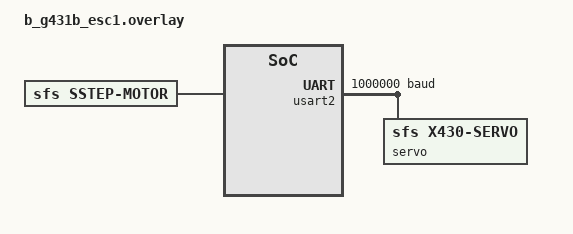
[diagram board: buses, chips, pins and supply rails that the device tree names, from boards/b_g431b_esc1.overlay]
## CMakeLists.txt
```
# SPDX-License-Identifier: Apache-2.0
#
# Doppelstep: stepper motor controller on B-G431B-ESC1 that answers as a
# DYNAMIXEL XM430-W350 (Protocol 2.0).

cmake_minimum_required(VERSION 3.20.0)

find_package(Zephyr REQUIRED HINTS $ENV{ZEPHYR_BASE})
project(doppelstep LANGUAGES C)

target_sources(app PRIVATE
  src/main.c
  src/app_msg.c
  src/control_task.c
  src/comm_task.c
  src/joint.c
  src/joint_bridge.c
  src/supervisor.c
)

target_sources_ifdef(CONFIG_POWER_STAGE_SIM app PRIVATE src/sim_log.c)

target_link_libraries(app PRIVATE x430)
```

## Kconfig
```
# SPDX-License-Identifier: Apache-2.0
#
# Doppelstep application options. Motor, power stage and control parameters
# are properties of the devicetree nodes (app/boards/*.overlay).

mainmenu "Doppelstep"

config SFS_STAGE_OFFSET_SAMPLES
	int "Samples averaged for the current sensor offsets at startup"
	default 1024
	range 16 65535

rsource "Kconfig.app_msg"

menu "Threads"

config SFS_CONTROL_THREAD_PRIORITY
	int "Control task priority"
	default -2
	help
	  Cooperative (negative) so that the slow loop is never preempted by
	  another thread.

config SFS_CONTROL_THREAD_STACK_SIZE
	int "Control task stack size"
	default 1536

config SFS_COMM_THREAD_PRIORITY
	int "Communication task priority"
	default 2

config SFS_COMM_THREAD_STACK_SIZE
	int "Communication task stack size"
	default 2560

endmenu

menu "Supervisor"

config SFS_WATCHDOG
	bool "Hardware watchdog, fed only while every task runs"
	default y
	depends on WATCHDOG && $(dt_alias_enabled,watchdog0)
	select HWINFO
	help
	  main() feeds the watchdog only when the control and the communication
	  task have both run since the last check (src/supervisor.h). A fast
	  loop that leaves the threads no time, or a task that hangs, resets the
	  MCU, which switches the outputs off. The log tells a watchdog reset.

config SFS_WATCHDOG_TIMEOUT_MS
	int "Watchdog timeout [ms]"
	default 500
	range 200 5000
	depends on SFS_WATCHDOG
	help
	  Longer than the longest normal pause of a task: a flash page erase of
	  the EEPROM area stalls the CPU for about 20 ms.

config SFS_WATCHDOG_CHECK_MS
	int "Period of the check in main() [ms]"
	default 100
	range 10 1000

endmenu

module = SFS
module-str = doppelstep
source "subsys/logging/Kconfig.template.log_config"

source "Kconfig.zephyr"
```

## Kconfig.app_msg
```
# SPDX-License-Identifier: Apache-2.0
#
# Queues between the communication and the control task (src/app_msg.h).

config SFS_CMD_TIMEOUT_MS
	int "Time a command waits for its result [ms]"
	default 50
	help
	  After it the host gets Result Fail. A command already in the queue may
	  still execute later; the log records the timeout. Torque Enable does not
	  wait for the self-test (CONFIG_SSTEP_MOTOR_SELFTEST): the motor driver
	  ends it in the slow loop.

config SFS_STATUS_PERIOD_MS
	int "Period of the status publication [ms]"
	default 1
	range 1 1000
	help
	  The status is also published after every command. On a core without an
	  FPU reading it can be expensive with stall detection on: see
	  docs/porting.md.

module = APP_MSG
module-str = app_msg
source "subsys/logging/Kconfig.template.log_config"
```

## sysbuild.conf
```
# SPDX-License-Identifier: Apache-2.0
#
# Sysbuild configuration of the board build (west build --sysbuild): MCUboot in
# boot_partition, the signed application in slot0_partition, serial recovery on
# USART2 (docs/firmware-update.md). native_sim builds do not use sysbuild.

SB_CONFIG_BOOTLOADER_MCUBOOT=y

# One application slot: serial recovery writes slot 0 directly.
SB_CONFIG_MCUBOOT_MODE_SINGLE_APP=y

# Signature: sysbuild default (RSA-2048) with the MCUboot development key, which
# is public and only fit for development. Own key: SB_CONFIG_BOOT_SIGNATURE_KEY_FILE.
```

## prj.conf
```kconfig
# SPDX-License-Identifier: Apache-2.0
#
# Doppelstep application configuration, common to every board. Board-specific
# options: boards/<board>.conf (merged by Zephyr automatically).

# --- Libraries (glue in modules/) --------------------------
CONFIG_SSTEP_TOPOLOGY_FULL_BRIDGE=n
CONFIG_SSTEP_TOPOLOGY_SHARED_LEG=y
# The motor node sets no stall time: the stall detection of Stepper-C is not used
CONFIG_SSTEP_STALL=n

CONFIG_X430_MODEL_XM430_W350=y
CONFIG_X430_MAX_DEVICES=1
CONFIG_X430_SIMULATOR=n

# --- STATUS LED --------------------------------------------------------------
CONFIG_GPIO=y

# --- Persistent EEPROM area of the emulated DYNAMIXEL ------------------------
CONFIG_FLASH=y
CONFIG_FLASH_MAP=y
CONFIG_NVS=y

# --- Logging -----------------------------------------------------------------
CONFIG_LOG=y
# No log prints a float. Without it picolibc links printf without floating point
# (the double printf with its Ryu tables was about 5 KiB of flash).
CONFIG_CBPRINTF_FP_SUPPORT=n

# --- Debugging: thread awareness for OpenOCD / J-Link / gdb ------------------
CONFIG_DEBUG_THREAD_INFO=y
CONFIG_THREAD_NAME=y

CONFIG_MAIN_STACK_SIZE=2048
```

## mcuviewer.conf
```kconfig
# SPDX-License-Identifier: Apache-2.0
#
# Bench build for measurements with MCUViewer (docs/measurements.md):
#
#   west build -b b_g431b_esc1 -s app -d build-mcuviewer -- -DEXTRA_CONF_FILE=mcuviewer.conf
#
# Never for a release: the option is off by default.

CONFIG_SSTEP_MOTOR_MCUVIEWER=y
CONFIG_SSTEP_MOTOR_MCUVIEWER_SAMPLES=1024
```

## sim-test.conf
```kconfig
# SPDX-License-Identifier: Apache-2.0
#
# native_sim build of the SIL and integration tests (tests/README.md): the
# model log line every 100 ms gives the tests the rotor position, speed and
# currents of the simulated motor.

CONFIG_SFS_SIM_LOG_PERIOD_MS=100
```

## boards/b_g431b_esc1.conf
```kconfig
# SPDX-License-Identifier: Apache-2.0
#
# Doppelstep on B-G431B-ESC1 (merged with prj.conf).

# --- Cortex-M4F: FPU in threads and in the fast-loop interrupt ---------------
CONFIG_FPU=y
CONFIG_FPU_SHARING=y

# Fast loop (ADC end of sequence) above the kernel's interrupt locking
CONFIG_ZERO_LATENCY_IRQS=y

# --- Peripherals -------------------------------------------------------------
CONFIG_OPAMP=y

# IWDG, fed only while every task runs (app/src/supervisor.h)
CONFIG_WATCHDOG=y

# NVS erases and writes the internal flash
CONFIG_MPU_ALLOW_FLASH_WRITE=y

# --- Console and logging over RTT (USART2 is the DYNAMIXEL bus) --------------
CONFIG_UART_CONSOLE=n
CONFIG_USE_SEGGER_RTT=y
CONFIG_RTT_CONSOLE=y
CONFIG_LOG_BACKEND_RTT=y
CONFIG_LOG_BACKEND_UART=n
```

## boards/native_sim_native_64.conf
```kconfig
# SPDX-License-Identifier: Apache-2.0
#
# Doppelstep on native_sim/native/64: the firmware as a Linux program, the
# simulated motor (sfs,sim-power-stage in the overlay), the DYNAMIXEL bus
# on a pseudoterminal (uart1). Merged with prj.conf.

# 1 ms tick = slow-loop period; the simulation backend runs the 20 fast-loop
# periods (20 kHz PWM of the ESC1) of each tick in one timer expiry
CONFIG_SYS_CLOCK_TICKS_PER_SEC=1000

# Logs on stdout of the program
CONFIG_LOG_BACKEND_NATIVE_POSIX=y
CONFIG_LOG_MODE_IMMEDIATE=y
```

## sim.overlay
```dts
/*
 * SPDX-License-Identifier: Apache-2.0
 *
 * Simulated motor on the board: the fast-loop interrupt of the real power stage
 * keeps its timing, Stepper-C drives a motor model and the gate drivers stay off.
 *   west build -b b_g431b_esc1 app -- -DEXTRA_DTC_OVERLAY_FILE=sim.overlay
 * See docs/simulation.md.
 */

/ {
	sim_stage: sim-power-stage {
		compatible = "sfs,sim-power-stage";
		timebase = <&power_stage>;
		microsteps = <16>;
		full-steps-per-rev = <200>;
	};
};

&motor {
	power-stage = <&sim_stage>;
};

/* The real stage is only the timebase here, its outputs stay off: no hardware
 * trips and no offset check (they need flash the simulated motor has not got).
 */
&power_stage {
	/delete-property/ hw-trip-current-milliamp;
	/delete-property/ hw-trip-vbus-mv;
	/delete-property/ current-offset-min-counts;
	/delete-property/ current-offset-max-counts;
};
```

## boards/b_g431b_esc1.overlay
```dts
/*
 * SPDX-License-Identifier: Apache-2.0
 *
 * Doppelstep on B-G431B-ESC1.
 */

/ {
	chosen {
		/* USART2 carries the DYNAMIXEL bus; console and logs go to RTT. */
		/delete-property/ zephyr,console;
		/delete-property/ zephyr,shell-uart;
		sfs,servo = &servo;
		sfs,motor = &motor;
	};

	power_stage: power-stage {
		compatible = "sfs,stm32-shared-leg-power-stage";
		pinctrl-0 = <&tim1_ch1_pa8 &tim1_ch1n_pc13
			     &tim1_ch2_pa9 &tim1_ch2n_pa12
			     &tim1_ch3_pa10 &tim1_ch3n_pb15
			     &adc1_in1_pa0 &adc1_in5_pb14>;
		pinctrl-names = "default";

		timer = <&timers1>;
		adc-master = <&adc1>;
		adc-slave = <&adc2>;
		opamps = <&opamp1 &opamp2 &opamp3>;
		opamp-gain = "OPAMP_GAIN_16";

		/* 20 kHz: TIM1 at 170 MHz, center-aligned, ARR = 4250 */
		pwm-frequency = <20000>;

		/*
		 * Dead time of the ESC1 bridge (0 = not set: outputs refused).
		 * Source: ngspice sweep of one leg (sfs-stepper-power-spice) with
		 * the gate circuit of schematic MB1419 rev C: L6387ED at 10 V,
		 * 33 Ohm gate resistors without turn-off diode, 10k G-S, snubber
		 * 1 Ohm + 10 nF; 24 V, 20 kHz, 25 and 100 degC, -3..+3 A.
		 * Shoot-through up to 600 ns; from 900 ns the Miller bump on the
		 * off gate stays under VGS(th) 3 V. 1200 ns = 900 ns x 1.3 margin
		 * for VGS(th) spread, driver delay mismatch and the fitted MOSFET
		 * model. Reduce only after measuring VGS on the board
		 * (docs/hardware.md, bring-up step 1).
		 */
		dead-time-ns = <1200>;

		/* Low-side time around the top of the counter for the samples: before
		 * the ADC trigger the dead time (1.2 us) and about 1 us of settling,
		 * after it the sampling phases of U, VBUS and W (about 1.5 us). Without
		 * it a duty cycle near 100 % (a 1 A current step at 12 V) corrupted the
		 * VBUS sample and tripped the undervoltage protection on the board.
		 * 2400 ns = 408 of 4250 ticks: the voltage limit drops by 9.6 %.
		 */
		sample-window-ns = <2400>;

		/* OP1_OUT PA2 = ADC1_IN3, OP2_OUT PA6 = ADC2_IN3,
		 * OP3_OUT PB1 = ADC1_IN12, VBUS PA0 = ADC1_IN1
		 */
		phase-u-channel = <3>;
		phase-v-channel = <3>;
		phase-w-channel = <12>;
		vbus-channel = <1>;

		/* Power stage temperature (schematic MB1419 rev C, sheets 4 and 6):
		 * +3.3 V - RT1 NTC - PB14 (ADC1_IN5) - R60 4.7k - GND, C66 10 nF.
		 * RT1 = TDK NTCG103JF103FT1: R25 10 kOhm +-1 %, B25/85 3435 K +-1 %
		 * (B25/50 3380 K; B25/85 fits the 80 degC Temperature Limit).
		 */
		temperature-channel = <5>;
		ntc-r25-ohm = <10000>;
		ntc-beta = <3435>;
		ntc-bottom-ohm = <4700>;

		adc-vref-mv = <3300>;

		/* 3 mOhm shunts, -64/7 = -9.143 V/V (MCSDK, NuttX, SimpleFOC) */
		shunt-micro-ohms = <3000>;
		current-sense-gain-milli = <(-9143)>;

		/* 18k / (18k + 169k) */
		vbus-divider = <18000 169000>;

		/* Hardware trips (schematic MB1419 rev C, sheet 6): each OPAMP+
		 * input is the shunt through 1.5k with 22k to +3.3 V and 2.2k to
		 * GND, V+ = 0.129 V + 4/7 Vshunt (1.71 mV/A); the comparator offset
		 * of +-5 mV is about +-3 A. 10 A: about 3 x trip-current-milliamp
		 * of the motor. 30 V: above vbus-max-mv (28 V).
		 */
		hw-trip-current-milliamp = <10000>;
		hw-trip-vbus-mv = <30000>;

		/* Offsets measured on the board: 2534 (U), 2528 counts = 16 x 0.129 V */
		current-offset-min-counts = <2300>;
		current-offset-max-counts = <2800>;
	};

	motor: motor {
		compatible = "sfs,sstep-motor";
		power-stage = <&power_stage>;

		/* 17HS19-2004S1 */
		phase-resistance-milliohm = <1600>;
		phase-inductance-microhenry = <3000>;
		rated-current-milliamp = <2000>;
		back-emf-uv-s-per-rad = <208600>;
		full-steps-per-rev = <200>;

		vbus-nominal-mv = <24000>;
		vbus-min-mv = <10000>;
		vbus-max-mv = <28000>;
		trip-current-milliamp = <3500>;
		/* The current rises at 30 mA/ms after Torque Enable (1.5 A in 50 ms):
		 * no step on the supply
		 */
		current-slew-ma-per-ms = <30>;
		/* Self-test before the first Torque Enable: 30 % of the rated current */
		selftest-current-milliamp = <600>;
		aux-trip;

		slow-loop-hz = <1000>;
		microsteps = <16>;
		current-bandwidth-hz = <1000>;
		run-current-milliamp = <1500>;
		hold-current-milliamp = <500>;
		hold-delay-ms = <500>;
		max-velocity = <16000>;
		max-acceleration = <64000>;

		motor_drv: driver {
			compatible = "sfs,sstep-stepper-driver";
		};

		motor_ctrl: ctrl {
			compatible = "sfs,sstep-stepper-ctrl";
		};
	};
};

/* DYNAMIXEL Protocol 2.0 bus: ST-LINK VCP for now, 1 Mbps as OpenMANIPULATOR-X */
&usart2 {
	current-speed = <1000000>;
	fifo-enable;

	servo: dxl-servo {
		compatible = "sfs,x430-servo";
		storage = <&storage_partition>;

		/* 17HS19-2004S1 in direct drive: one joint revolution = one motor
		 * revolution = 4096 pulses of the XM430 = 200 x 16 = 3200 microsteps.
		 * With a gearbox: motor revolutions per joint revolution.
		 */
		gear-motor-revs = <1>;
		gear-joint-revs = <1>;
	};
};
```

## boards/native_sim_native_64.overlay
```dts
/*
 * SPDX-License-Identifier: Apache-2.0
 *
 * Doppelstep on native_sim/native/64: DYNAMIXEL bus on the second PTY UART.
 * The program prints "uart_1 connected to pseudotty: /dev/pts/N" at start;
 * tools/sim/run_native.py links it to a fixed path (see the README).
 */

/ {
	chosen {
		sfs,servo = &servo;
		sfs,motor = &motor;
	};

	/* The simulated motor, with the ESC1 values of boards/b_g431b_esc1.overlay */
	sim_stage: sim-power-stage {
		compatible = "sfs,sim-power-stage";
		pwm-frequency = <20000>;
		timer-clock-hz = <170000000>;
		adc-vref-mv = <3300>;
		shunt-micro-ohms = <3000>;
		current-sense-gain-milli = <(-9143)>;
		vbus-divider = <18000 169000>;
		microsteps = <16>;
		full-steps-per-rev = <200>;
	};

	motor: motor {
		compatible = "sfs,sstep-motor";
		power-stage = <&sim_stage>;

		/* 17HS19-2004S1 */
		phase-resistance-milliohm = <1600>;
		phase-inductance-microhenry = <3000>;
		rated-current-milliamp = <2000>;
		back-emf-uv-s-per-rad = <208600>;
		full-steps-per-rev = <200>;

		vbus-nominal-mv = <24000>;
		vbus-min-mv = <10000>;
		vbus-max-mv = <28000>;
		trip-current-milliamp = <3500>;
		aux-trip;

		slow-loop-hz = <1000>;
		microsteps = <16>;
		current-bandwidth-hz = <1000>;
		run-current-milliamp = <1500>;
		hold-current-milliamp = <500>;
		hold-delay-ms = <500>;
		max-velocity = <16000>;
		max-acceleration = <64000>;

		motor_drv: driver {
			compatible = "sfs,sstep-stepper-driver";
		};

		motor_ctrl: ctrl {
			compatible = "sfs,sstep-stepper-ctrl";
		};
	};
};

&uart1 {
	status = "okay";
	current-speed = <1000000>;

	servo: dxl-servo {
		compatible = "sfs,x430-servo";
		storage = <&storage_partition>;
	};
};
```

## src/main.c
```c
/*
 * SPDX-License-Identifier: Apache-2.0
 *
 * Doppelstep: 17HS19-2004S1 stepper motor on B-G431B-ESC1, controlled
 * by Stepper-C, seen by the host as a DYNAMIXEL XM430-W350 (Protocol 2.0).
 *
 * The drivers have initialised themselves, with the outputs off. main() measures
 * the current sensor offsets, starts the control task, connects the servo to the
 * motor and starts the communication task. Until then nothing can send a command, so
 * the motor cannot start with uncalibrated sensors. Then main() shows the state on the
 * STATUS LED.
 */

#include <errno.h>

#include <zephyr/app_version.h>
#include <zephyr/device.h>
#include <zephyr/devicetree.h>
#include <zephyr/drivers/gpio.h>
#include <zephyr/kernel.h>
#include <zephyr/logging/log.h>

#include <doppelstep/drivers/power_stage.h>

#include <doppelstep/drivers/x430_servo.h>

#include "app_msg.h"
#include "app_tasks.h"
#include "joint_bridge.h"
#include "supervisor.h"

LOG_MODULE_REGISTER(main, CONFIG_SFS_LOG_LEVEL);

#define MOTOR_NODE DT_CHOSEN(sfs_motor)

static const struct device *const stage = DEVICE_DT_GET(DT_PHANDLE(MOTOR_NODE, power_stage));
static const struct device *const motor = DEVICE_DT_GET(MOTOR_NODE);
static const struct device *const motor_drv = DEVICE_DT_GET(DT_CHILD(MOTOR_NODE, driver));
static const struct device *const motor_ctrl = DEVICE_DT_GET(DT_CHILD(MOTOR_NODE, ctrl));
static const struct device *const servo = DEVICE_DT_GET(DT_CHOSEN(sfs_servo));
static const struct gpio_dt_spec led = GPIO_DT_SPEC_GET(DT_ALIAS(led0), gpios);

/* STATUS LED: slow blink = outputs off, on = outputs on, fast blink = fault
 * or startup error. The same loop checks the tasks every CONFIG_SFS_WATCHDOG_CHECK_MS
 * and feeds the watchdog (supervisor.h).
 */
static void status_led_loop(bool startup_failed)
{
	bool on = false;
	int32_t since_toggle_ms = 0;

	for (;;) {
		struct sstep_motor_status status;
		int32_t period_ms;

		k_msleep(CONFIG_SFS_WATCHDOG_CHECK_MS);
		if (startup_failed) {
			/* The comm task may never have started, so no command can come
			 * and the outputs stay off: keep the fast blink instead of a
			 * reset loop, even if the watchdog already runs.
			 */
			supervisor_checkin(SUPERVISOR_CONTROL);
			supervisor_checkin(SUPERVISOR_COMM);
		}
		(void)supervisor_poll();
		since_toggle_ms += CONFIG_SFS_WATCHDOG_CHECK_MS;

		if (startup_failed) {
			period_ms = 100;
		} else {
			status.state = SSTEP_MOTOR_DISABLED;
			(void)app_status_get(&status);
			switch (status.state) {
			case SSTEP_MOTOR_FAULT:
				period_ms = 100;
				break;
			case SSTEP_MOTOR_HOLDING:
			case SSTEP_MOTOR_MOVING:
				period_ms = 0;
				break;
			default:
				period_ms = 500;
				break;
			}
		}

		if ((period_ms == 0) || (since_toggle_ms >= period_ms)) {
			since_toggle_ms = 0;
			on = (period_ms == 0) ? true : !on;
			(void)gpio_pin_set_dt(&led, on ? 1 : 0);
		}
	}
}

static int startup(void)
{
	int ret;

	if (!device_is_ready(stage) || !device_is_ready(motor) || !device_is_ready(motor_drv) ||
	    !device_is_ready(motor_ctrl) || !device_is_ready(servo)) {
		return -ENODEV;
	}

	/* -EIO: an offset outside its window (broken amplifier, shunt or bias). The
	 * stage refuses its outputs; the bus still runs and reports Electrical Shock.
	 */
	ret = power_stage_calibrate(stage, CONFIG_SFS_STAGE_OFFSET_SAMPLES);
	const bool sensor_fault = (ret == -EIO);

	if ((ret != 0) && !sensor_fault) {
		return ret;
	}

	/* Without the watchdog the tasks do not start, so the outputs stay off. The
	 * first check comes CONFIG_SFS_WATCHDOG_CHECK_MS later, with both tasks running.
	 */
	ret = supervisor_start();
	if (ret != 0) {
		return ret;
	}

	/* Runs at once: higher priority, and it publishes the first status */
	k_thread_start(control_task_id);

	ret = joint_bridge_init(servo);
	if (ret != 0) {
		return ret;
	}
	if (sensor_fault) {
		x430_servo_lock(servo);
		x430_servo_raise_hw_error(servo, X430_HW_ERROR_ELECTRICAL_SHOCK);
		x430_servo_unlock(servo);
	}

	k_thread_start(comm_task_id);
	return 0;
}

int main(void)
{
	int ret;

	LOG_INF("Doppelstep %s on %s", APP_VERSION_STRING, CONFIG_BOARD_TARGET);

	if (gpio_is_ready_dt(&led)) {
		(void)gpio_pin_configure_dt(&led, GPIO_OUTPUT_INACTIVE);
	}

	ret = startup();
	if (ret != 0) {
		LOG_ERR("startup failed: %d", ret);
	}

	status_led_loop(ret != 0);
	return 0;
}
```

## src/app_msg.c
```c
/*
 * SPDX-License-Identifier: Apache-2.0
 *
 * See app_msg.h.
 */

#include "app_msg.h"

#include <errno.h>

#include <zephyr/logging/log.h>
#include <zephyr/sys/atomic.h>

LOG_MODULE_REGISTER(app_msg, CONFIG_APP_MSG_LOG_LEVEL);

K_MSGQ_DEFINE(cmd_q, sizeof(struct app_cmd), 2, 4);
K_MSGQ_DEFINE(rsp_q, sizeof(struct app_rsp), 2, 4);
K_MSGQ_DEFINE(status_q, sizeof(struct sstep_motor_status), 1, 4);

static atomic_t rsp_dropped;

int app_call(enum app_cmd_op op, int32_t arg0, uint32_t arg1, uint32_t arg2)
{
	static uint32_t seq;
	const struct app_cmd cmd = {
		.seq = ++seq,
		.op = op,
		.arg0 = arg0,
		.arg1 = arg1,
		.arg2 = arg2,
	};
	const k_timepoint_t end = sys_timepoint_calc(K_MSEC(CONFIG_SFS_CMD_TIMEOUT_MS));

	if (k_msgq_put(&cmd_q, &cmd, K_NO_WAIT) != 0) {
		return -EBUSY;
	}

	for (;;) {
		struct app_rsp rsp;

		if (k_msgq_get(&rsp_q, &rsp, sys_timepoint_timeout(end)) != 0) {
			LOG_ERR("command %d: no result", (int)op);
			return -ETIMEDOUT;
		}
		if (rsp.seq == cmd.seq) {
			return rsp.err;
		}
		/* the late answer of a command that timed out */
	}
}

int app_cmd_next(struct app_cmd *cmd, k_timeout_t timeout)
{
	return k_msgq_get(&cmd_q, cmd, timeout);
}

void app_cmd_done(const struct app_cmd *cmd, int err)
{
	const struct app_rsp rsp = {.seq = cmd->seq, .err = err};

	if (k_msgq_put(&rsp_q, &rsp, K_NO_WAIT) != 0) {
		(void)atomic_inc(&rsp_dropped);
	}
}

void app_status_publish(const struct sstep_motor_status *status)
{
	/* Safe between the two calls: the publisher is a cooperative thread that outranks
	 * every reader on a single core; a reader that still sees the queue empty keeps
	 * its previous copy.
	 */
	k_msgq_purge(&status_q);
	(void)k_msgq_put(&status_q, status, K_NO_WAIT);
}

int app_status_get(struct sstep_motor_status *status)
{
	return k_msgq_peek(&status_q, status);
}

uint32_t app_rsp_dropped(void)
{
	return (uint32_t)atomic_get(&rsp_dropped);
}
```

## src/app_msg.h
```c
/*
 * SPDX-License-Identifier: Apache-2.0
 *
 * The queues between the communication and the control task. Messages travel by
 * value. The control task never waits on an outgoing queue, so the communication
 * side cannot stall the control loop.
 *
 *   comm task     app_call() ---- cmd_q ---->  app_cmd_next()   control task
 *                            <--- rsp_q -----  app_cmd_done()
 *   any reader    app_status_get() <- status_q - app_status_publish()
 */

#ifndef DOPPELSTEP_APP_MSG_H_
#define DOPPELSTEP_APP_MSG_H_

#include <stdint.h>

#include <zephyr/kernel.h>

#include <doppelstep/drivers/sstep_motor.h>

#ifdef __cplusplus
extern "C" {
#endif

enum app_cmd_op {
	APP_CMD_ENABLE,       /**< Outputs on, hold the position. */
	APP_CMD_DISABLE,      /**< Outputs off. */
	APP_CMD_MOVE_TO,      /**< arg0 target [microsteps], arg1 speed, arg2 acceleration. */
	APP_CMD_RUN,          /**< arg0 velocity [microsteps/s], arg1 speed, arg2 acceleration. */
	APP_CMD_STOP,         /**< Decelerate to standstill. */
	APP_CMD_SET_POSITION, /**< arg0 position [microsteps]; the rotor does not move. */
	APP_CMD_SET_CURRENT,  /**< arg1 run, arg2 hold [mA]. */
	APP_CMD_CLEAR_FAULTS, /**< Clear the faults; outputs stay off. */
};

struct app_cmd {
	uint32_t seq; /**< Set by app_call(). */
	enum app_cmd_op op;
	int32_t arg0;
	uint32_t arg1;
	uint32_t arg2;
};

struct app_rsp {
	uint32_t seq; /**< Of the command. */
	int err;      /**< 0 or -errno. */
};

extern struct k_msgq cmd_q;
extern struct k_msgq rsp_q;
extern struct k_msgq status_q;

/**
 * @brief Send a command and wait for its result, at most CONFIG_SFS_CMD_TIMEOUT_MS.
 *        Communication task only: one command is in flight at a time.
 * @return The result of the control side, -EBUSY when the queue is full, -ETIMEDOUT
 *         when no answer came; the late answer is discarded by a later call.
 */
int app_call(enum app_cmd_op op, int32_t arg0, uint32_t arg1, uint32_t arg2);

/** Control task: next command; returns as k_msgq_get(). */
int app_cmd_next(struct app_cmd *cmd, k_timeout_t timeout);

/** Control task: result of a command. Never blocks; a full queue counts a drop. */
void app_cmd_done(const struct app_cmd *cmd, int err);

/** Control task: publish the status; it replaces the previous one. */
void app_status_publish(const struct sstep_motor_status *status);

/** Latest status, any thread. @return 0, or -ENOMSG before the first publication. */
int app_status_get(struct sstep_motor_status *status);

/** Results dropped by app_cmd_done() since start. */
uint32_t app_rsp_dropped(void);

#ifdef __cplusplus
}
#endif

#endif /* DOPPELSTEP_APP_MSG_H_ */
```

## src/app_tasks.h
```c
/*
 * SPDX-License-Identifier: Apache-2.0
 *
 * The application tasks. They are created stopped; main() starts them after a
 * successful initialisation.
 */

#ifndef DOPPELSTEP_APP_TASKS_H_
#define DOPPELSTEP_APP_TASKS_H_

#include <zephyr/kernel.h>

extern const k_tid_t control_task_id;
extern const k_tid_t comm_task_id;

#endif /* DOPPELSTEP_APP_TASKS_H_ */
```

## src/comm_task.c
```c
/*
 * SPDX-License-Identifier: Apache-2.0
 *
 * Communication task: the DYNAMIXEL bus. The servo driver parses and answers in
 * x430_servo_process() and calls joint_bridge.c, in this thread, for what the
 * registers mean. Between packets the live registers follow the motor.
 */

#include <zephyr/device.h>
#include <zephyr/devicetree.h>
#include <zephyr/kernel.h>

#include <doppelstep/drivers/x430_servo.h>

#include "app_tasks.h"
#include "joint_bridge.h"
#include "supervisor.h"

static const struct device *const servo = DEVICE_DT_GET(DT_CHOSEN(sfs_servo));

static void comm_task(void *p1, void *p2, void *p3)
{
	int64_t next_refresh = k_uptime_get() + CONFIG_SFS_DXL_POLL_MS;

	ARG_UNUSED(p1);
	ARG_UNUSED(p2);
	ARG_UNUSED(p3);

	for (;;) {
		(void)x430_servo_process(servo, K_MSEC(CONFIG_SFS_DXL_POLL_MS));
		supervisor_checkin(SUPERVISOR_COMM);

		const int64_t now = k_uptime_get();

		if (now >= next_refresh) {
			/* After a long packet or an EEPROM write: one refresh, not a burst */
			next_refresh += CONFIG_SFS_DXL_POLL_MS;
			if (next_refresh <= now) {
				next_refresh = now + CONFIG_SFS_DXL_POLL_MS;
			}
			joint_bridge_refresh();
		}
	}
}

K_THREAD_DEFINE(comm_task_id, CONFIG_SFS_COMM_THREAD_STACK_SIZE, comm_task, NULL, NULL, NULL,
		CONFIG_SFS_COMM_THREAD_PRIORITY, 0, K_TICKS_FOREVER);
```

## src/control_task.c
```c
/*
 * SPDX-License-Identifier: Apache-2.0
 *
 * Control task: the slow loop of the motor driver at the rate of its node, the
 * commands of the communication task and the publication of the status. It is the
 * only thread that calls the motor driver. Cooperative, so another thread never
 * preempts the slow loop.
 *
 * It waits for a command until the next period starts, on an absolute tick schedule,
 * so a command executes on receipt and the period does not drift with the work done.
 */

#include <errno.h>

#include <zephyr/device.h>
#include <zephyr/devicetree.h>
#include <zephyr/drivers/stepper/stepper.h>
#include <zephyr/drivers/stepper/stepper_ctrl.h>
#include <zephyr/kernel.h>

#include <doppelstep/drivers/sstep_motor.h>

#include "app_msg.h"
#include "app_tasks.h"
#include "supervisor.h"

#define MOTOR_NODE DT_CHOSEN(sfs_motor)
#define SLOW_HZ    DT_PROP(MOTOR_NODE, slow_loop_hz)

BUILD_ASSERT((CONFIG_SYS_CLOCK_TICKS_PER_SEC % SLOW_HZ) == 0,
	     "the system tick rate must be a multiple of the slow loop rate");

/* Slow-loop periods between two publications of the status */
#define STATUS_PERIODS MAX(1, (CONFIG_SFS_STATUS_PERIOD_MS * SLOW_HZ) / 1000)

static const struct device *const motor = DEVICE_DT_GET(MOTOR_NODE);
static const struct device *const motor_drv = DEVICE_DT_GET(DT_CHILD(MOTOR_NODE, driver));
static const struct device *const motor_ctrl = DEVICE_DT_GET(DT_CHILD(MOTOR_NODE, ctrl));

static int configure_ramp(uint32_t speed, uint32_t accel)
{
	const struct stepper_ctrl_ramp ramp = {
		.speed_max = speed,
		.acceleration_max = accel,
		.deceleration_max = 0U,
	};

	return stepper_ctrl_configure_ramp(motor_ctrl, &ramp);
}

static int execute(const struct app_cmd *cmd)
{
	int ret;

	switch (cmd->op) {
	case APP_CMD_ENABLE:
		return stepper_enable(motor_drv);
	case APP_CMD_DISABLE:
		return stepper_disable(motor_drv);
	case APP_CMD_MOVE_TO:
		ret = configure_ramp(cmd->arg1, cmd->arg2);
		return (ret == 0) ? stepper_ctrl_move_to(motor_ctrl, cmd->arg0) : ret;
	case APP_CMD_RUN:
		ret = configure_ramp(cmd->arg1, cmd->arg2);
		if (ret != 0) {
			return ret;
		}
		if (cmd->arg0 == 0) {
			return stepper_ctrl_stop(motor_ctrl);
		}
		return stepper_ctrl_run(motor_ctrl, (cmd->arg0 < 0)
							    ? STEPPER_CTRL_DIRECTION_NEGATIVE
							    : STEPPER_CTRL_DIRECTION_POSITIVE);
	case APP_CMD_STOP:
		return stepper_ctrl_stop(motor_ctrl);
	case APP_CMD_SET_POSITION:
		return stepper_ctrl_set_reference_position(motor_ctrl, cmd->arg0);
	case APP_CMD_SET_CURRENT:
		return sstep_motor_set_current(motor, cmd->arg1, cmd->arg2);
	case APP_CMD_CLEAR_FAULTS:
		return sstep_motor_clear_faults(motor);
	default:
		return -EINVAL;
	}
}

static void publish_status(void)
{
	struct sstep_motor_status status;

	if (sstep_motor_get_status(motor, &status) == 0) {
		app_status_publish(&status);
	}
}

static void control_task(void *p1, void *p2, void *p3)
{
	const k_ticks_t period = CONFIG_SYS_CLOCK_TICKS_PER_SEC / SLOW_HZ;
	k_ticks_t next = k_uptime_ticks();
	uint32_t periods = 0U;

	ARG_UNUSED(p1);
	ARG_UNUSED(p2);
	ARG_UNUSED(p3);

	/* The status exists before anyone can read it */
	publish_status();

	for (;;) {
		struct app_cmd cmd;

		next += period;
		while (app_cmd_next(&cmd, K_TIMEOUT_ABS_TICKS(next)) == 0) {
			const int err = execute(&cmd);

			/* The sender sees a status that reflects its command */
			publish_status();
			app_cmd_done(&cmd, err);
		}

		(void)sstep_motor_process(motor);
		supervisor_checkin(SUPERVISOR_CONTROL);

		periods++;
		if (periods >= STATUS_PERIODS) {
			periods = 0U;
			publish_status();
		}
	}
}

K_THREAD_DEFINE(control_task_id, CONFIG_SFS_CONTROL_THREAD_STACK_SIZE, control_task, NULL, NULL,
		NULL, CONFIG_SFS_CONTROL_THREAD_PRIORITY,
		COND_CODE_1(CONFIG_FPU_SHARING, (K_FP_REGS), (0)), K_TICKS_FOREVER);
```

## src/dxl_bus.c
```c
/*
 * SPDX-License-Identifier: Apache-2.0
 *
 * DYNAMIXEL Protocol 2.0 bus with one emulated XM430-W350 (see dxl_bus.h).
 *
 * Threads and contexts (X430 integration guide, "RTOS" layout):
 *   UART ISR        bytes -> ring buffer, wakes the bus thread
 *   bus thread      x430_bus_receive() (parser, answers, hooks; bus lock held
 *                   inside), x430_bus_poll() (Bus Watchdog) and the refresh of
 *                   the live registers every CONFIG_SFS_DXL_POLL_MS
 *   hooks           run in the bus thread; motion commands go to the slow-loop
 *                   thread through motor_*() (synchronous, < 2 slow-loop periods)
 */

#include "dxl_bus.h"

#include <errno.h>
#include <stdlib.h>

#include <zephyr/device.h>
#include <zephyr/devicetree.h>
#include <zephyr/drivers/uart.h>
#include <zephyr/kernel.h>
#include <zephyr/logging/log.h>
#include <zephyr/sys/ring_buffer.h>

#include <x430.h>

#include "joint.h"
#include "motor.h"
#include "nvm.h"

LOG_MODULE_REGISTER(dxl_bus, CONFIG_SFS_LOG_LEVEL);

#define DXL_UART_NODE DT_CHOSEN(sfs_dxl_uart)

#if !DT_NODE_EXISTS(DXL_UART_NODE)
#error "Set /chosen/sfs,dxl-uart to the UART of the DYNAMIXEL bus"
#endif

static const struct device *const uart = DEVICE_DT_GET(DXL_UART_NODE);

/* Baud Rate (8) codes of the X430 Control Table (ROBOTIS e-Manual) */
static const uint32_t baud_bps[] = {9600U,    57600U,   115200U,  1000000U,
				    2000000U, 3000000U, 4000000U, 4500000U};

RING_BUF_DECLARE(rx_ring, CONFIG_SFS_DXL_RX_BUFFER_SIZE);
static K_SEM_DEFINE(rx_sem, 0, 1);
static atomic_t rx_overruns;

K_MUTEX_DEFINE(bus_mutex); /* Zephyr mutexes are recursive */

static struct x430_bus bus;
static struct x430_device joint_dev;

static const struct joint_cfg jcfg = {
	.full_steps_per_rev = CONFIG_SFS_MOTOR_FULL_STEPS_PER_REV,
	.microsteps = CONFIG_SFS_CTRL_MICROSTEPS,
	.gear_motor_revs = CONFIG_SFS_DXL_GEAR_MOTOR_REVS,
	.gear_joint_revs = CONFIG_SFS_DXL_GEAR_JOINT_REVS,
	.start_position = CONFIG_SFS_DXL_START_POSITION,
};

/* Control Table values the mapping needs, kept current by the write hook. */
static struct {
	struct joint_regs regs;
	uint8_t operating_mode;
	uint8_t baud;
	uint32_t profile_velocity;
	uint32_t profile_acceleration;
	uint32_t velocity_limit;
} cache;

static bool eeprom_missing;       /* no EEPROM block at startup */
static bool factory_baud_pending; /* apply CONFIG_SFS_DXL_FACTORY_BAUD_CODE */
static uint16_t faults_reported;

static K_THREAD_STACK_DEFINE(dxl_stack, CONFIG_SFS_DXL_THREAD_STACK_SIZE);
static struct k_thread dxl_thread;

/* ------------------------------------------------------------------------ */
/* UART                                                                     */

static void uart_isr(const struct device *dev, void *user_data)
{
	ARG_UNUSED(user_data);

	uart_irq_update(dev);
	while (uart_irq_rx_ready(dev) != 0) {
		uint8_t buf[16];
		const int n = uart_fifo_read(dev, buf, sizeof(buf));

		if (n <= 0) {
			break;
		}
		if (ring_buf_put(&rx_ring, buf, (uint32_t)n) != (uint32_t)n) {
			(void)atomic_inc(&rx_overruns);
		}
		k_sem_give(&rx_sem);
	}
}

static int uart_write(void *context, const uint8_t *data, size_t length)
{
	ARG_UNUSED(context);
	for (size_t i = 0; i < length; i++) {
		uart_poll_out(uart, data[i]);
	}
	return 0;
}

static int uart_set_baud(uint8_t code)
{
	struct uart_config cfg;
	int ret;

	if (code >= ARRAY_SIZE(baud_bps)) {
		return -EINVAL;
	}
	ret = uart_config_get(uart, &cfg);
	if ((ret == 0) && (cfg.baudrate != baud_bps[code])) {
		cfg.baudrate = baud_bps[code];
		ret = uart_configure(uart, &cfg);
	}
	if (ret != 0) {
		LOG_ERR("UART %u bps: %d", baud_bps[code], ret);
	} else {
		LOG_INF("bus at %u bps", baud_bps[code]);
	}
	return ret;
}

/* ------------------------------------------------------------------------ */
/* X430 port                                                                */

static void port_lock(void *context)
{
	(void)k_mutex_lock(context, K_FOREVER);
}

static void port_unlock(void *context)
{
	(void)k_mutex_unlock(context);
}

static uint32_t port_millis(void *context)
{
	ARG_UNUSED(context);
	return k_uptime_get_32();
}

static void port_delay_us(void *context, uint32_t us)
{
	ARG_UNUSED(context);
	k_busy_wait(us);
}

static const struct x430_port port = {
	.context = &bus_mutex,
	.lock = port_lock,
	.unlock = port_unlock,
	.millis = port_millis,
	.delay_us = port_delay_us,
};

/* ------------------------------------------------------------------------ */
/* Control Table <-> motor                                                  */

static int32_t reg(uint16_t address)
{
	return x430_device_get(&joint_dev, address);
}

static void reload_cache(void)
{
	cache.regs.drive_mode = (uint8_t)reg(X430_ADDR_DRIVE_MODE);
	cache.regs.homing_offset = reg(X430_ADDR_HOMING_OFFSET);
	cache.operating_mode = (uint8_t)reg(X430_ADDR_OPERATING_MODE);
	cache.baud = (uint8_t)reg(X430_ADDR_BAUD_RATE);
	cache.profile_velocity = (uint32_t)reg(X430_ADDR_PROFILE_VELOCITY);
	cache.profile_acceleration = (uint32_t)reg(X430_ADDR_PROFILE_ACCELERATION);
	cache.velocity_limit = (uint32_t)reg(X430_ADDR_VELOCITY_LIMIT);
}

static uint8_t hardware_error_bits(uint16_t faults)
{
	uint8_t bits = 0U;

	if ((faults & (SSTEP_FAULT_OVERVOLTAGE | SSTEP_FAULT_UNDERVOLTAGE)) != 0U) {
		bits |= X430_HW_ERROR_INPUT_VOLTAGE;
	}
	if ((faults & (SSTEP_FAULT_OVERCURRENT | SSTEP_FAULT_EXTERNAL | SSTEP_FAULT_HAL)) != 0U) {
		bits |= X430_HW_ERROR_ELECTRICAL_SHOCK;
	}
	return bits;
}

/* Live registers from the motor snapshot. Bus lock held. */
static void refresh_live(void)
{
	struct motor_snapshot snap;
	const struct sstep_status *st = &snap.status;

	motor_get_snapshot(&snap);

	const int32_t position = joint_position_to_dxl(&jcfg, &cache.regs, st->position);
	const int32_t velocity = joint_velocity_to_dxl(&jcfg, &cache.regs, st->velocity);
	const bool moving = st->state == SSTEP_STATE_MOVING;
	uint8_t moving_status = 0U;

	(void)x430_device_set(&joint_dev, X430_ADDR_PRESENT_POSITION, position);
	(void)x430_device_set(&joint_dev, X430_ADDR_POSITION_TRAJECTORY, position);
	(void)x430_device_set(&joint_dev, X430_ADDR_PRESENT_VELOCITY, velocity);
	(void)x430_device_set(&joint_dev, X430_ADDR_VELOCITY_TRAJECTORY, velocity);
	(void)x430_device_set(&joint_dev, X430_ADDR_PRESENT_CURRENT,
			      joint_current_to_dxl((int32_t)snap.i_amplitude_ma));
	(void)x430_device_set(&joint_dev, X430_ADDR_PRESENT_INPUT_VOLTAGE,
			      (int32_t)((st->vbus_mv + 50U) / 100U));
	(void)x430_device_set(&joint_dev, X430_ADDR_MOVING, moving ? 1 : 0);

	if (moving) {
		moving_status |= X430_MOVING_STATUS_PROFILE_ONGOING |
				 X430_MOVING_STATUS_PROFILE_TRAPEZOIDAL;
	} else if (st->position == st->target) {
		moving_status |= X430_MOVING_STATUS_IN_POSITION;
	}
	(void)x430_device_set(&joint_dev, X430_ADDR_MOVING_STATUS, moving_status);

	/* Faults of the power stage -> Hardware Error Status (once per new fault) */
	const uint16_t fresh = st->faults & (uint16_t)~faults_reported;

	if (fresh != 0U) {
		const uint8_t bits = hardware_error_bits(fresh);

		if (bits != 0U) {
			x430_device_raise_hardware_error(&joint_dev, bits);
		}
	}
	faults_reported = st->faults;

	/* Outputs off while Torque Enable says on (fault, external disable) */
	if ((reg(X430_ADDR_TORQUE_ENABLE) != 0) &&
	    ((st->state == SSTEP_STATE_DISABLED) || (st->state == SSTEP_STATE_FAULT))) {
		(void)x430_device_set(&joint_dev, X430_ADDR_TORQUE_ENABLE, 0);
	}
}

static uint8_t to_status(int rc)
{
	return (rc == 0) ? DXL2_ERR_NONE : DXL2_ERR_RESULT_FAIL;
}

static uint8_t goal_position(int32_t value)
{
	struct motor_snapshot snap;
	struct joint_profile profile;
	int32_t target;

	if (((cache.operating_mode != X430_MODE_POSITION) &&
	     (cache.operating_mode != X430_MODE_EXTENDED_POSITION)) ||
	    (reg(X430_ADDR_TORQUE_ENABLE) == 0)) {
		return DXL2_ERR_NONE; /* stored only, as on an X430 */
	}

	motor_get_snapshot(&snap);
	target = joint_position_from_dxl(&jcfg, &cache.regs, value);
	profile = joint_profile(&jcfg, &cache.regs,
				(uint32_t)llabs((int64_t)target - snap.status.position),
				cache.profile_velocity, cache.profile_acceleration,
				cache.velocity_limit, CONFIG_SFS_CTRL_V_MAX,
				CONFIG_SFS_CTRL_ACCEL_MAX);

	return to_status(motor_move_to(target, profile.v_max, profile.accel));
}

static uint8_t goal_velocity(int32_t value)
{
	uint32_t cap = CONFIG_SFS_CTRL_V_MAX;
	uint32_t accel = CONFIG_SFS_CTRL_ACCEL_MAX;
	int32_t velocity;

	if ((cache.operating_mode != X430_MODE_VELOCITY) || (reg(X430_ADDR_TORQUE_ENABLE) == 0)) {
		return DXL2_ERR_NONE;
	}

	if (cache.velocity_limit > 0U) {
		cap = MIN(cap, joint_speed_from_dxl(&jcfg, cache.velocity_limit));
	}
	if (cache.profile_acceleration > 0U) {
		accel = CLAMP(joint_accel_from_dxl(&jcfg, cache.profile_acceleration), 1U,
			      (uint32_t)CONFIG_SFS_CTRL_ACCEL_MAX);
	}
	velocity = CLAMP(joint_velocity_from_dxl(&jcfg, &cache.regs, value), -(int32_t)cap,
			 (int32_t)cap);

	return to_status(motor_run(velocity, MAX((uint32_t)abs(velocity), 1U), accel));
}

/* ------------------------------------------------------------------------ */
/* X430 hooks (bus thread, bus lock held)                                   */

static uint8_t hook_write(struct x430_device *device, uint16_t address, uint8_t size,
			  int32_t value, void *user_data)
{
	ARG_UNUSED(device);
	ARG_UNUSED(size);
	ARG_UNUSED(user_data);

	switch (address) {
	case X430_ADDR_TORQUE_ENABLE:
		if (value != 0) {
			/* The library copies Present Position into Goal Position next */
			refresh_live();
			return to_status(motor_enable(true));
		}
		return to_status(motor_enable(false));

	case X430_ADDR_OPERATING_MODE:
		/* Position, extended position and velocity map onto Stepper-C;
		 * current, current-based position and PWM need a torque path.
		 */
		if ((value != X430_MODE_POSITION) && (value != X430_MODE_EXTENDED_POSITION) &&
		    (value != X430_MODE_VELOCITY)) {
			return DXL2_ERR_DATA_RANGE;
		}
		cache.operating_mode = (uint8_t)value;
		return DXL2_ERR_NONE;

	case X430_ADDR_DRIVE_MODE:
		cache.regs.drive_mode = (uint8_t)value;
		return DXL2_ERR_NONE;

	case X430_ADDR_HOMING_OFFSET:
		cache.regs.homing_offset = value;
		return DXL2_ERR_NONE;

	case X430_ADDR_BAUD_RATE:
		if ((uint32_t)value >= ARRAY_SIZE(baud_bps)) {
			return DXL2_ERR_DATA_RANGE;
		}
		cache.baud = (uint8_t)value;
		return DXL2_ERR_NONE;

	case X430_ADDR_PROFILE_VELOCITY:
		cache.profile_velocity = (uint32_t)value;
		return DXL2_ERR_NONE;

	case X430_ADDR_PROFILE_ACCELERATION:
		cache.profile_acceleration = (uint32_t)value;
		return DXL2_ERR_NONE;

	case X430_ADDR_VELOCITY_LIMIT:
		cache.velocity_limit = (uint32_t)value;
		return DXL2_ERR_NONE;

	case X430_ADDR_CURRENT_LIMIT:
		return to_status(motor_set_current(joint_current_from_dxl((uint32_t)value),
						   CONFIG_SFS_CTRL_I_HOLD_MA));

	case X430_ADDR_GOAL_POSITION:
		return goal_position(value);

	case X430_ADDR_GOAL_VELOCITY:
		return goal_velocity(value);

	default:
		return DXL2_ERR_NONE;
	}
}

static void hook_read(struct x430_device *device, uint16_t address, uint16_t length,
		      void *user_data)
{
	ARG_UNUSED(device);
	ARG_UNUSED(user_data);

	if ((address + length) > X430_ADDR_REALTIME_TICK) {
		refresh_live();
	}
}

static uint8_t hook_event(struct x430_device *device, enum x430_event event, void *user_data)
{
	ARG_UNUSED(device);
	ARG_UNUSED(user_data);

	switch (event) {
	case X430_EVENT_REBOOT:
		(void)motor_enable(false);
		(void)motor_clear_faults();
		faults_reported = 0U;
		reload_cache();
		break;

	case X430_EVENT_FACTORY_RESET: {
		const uint8_t previous_baud = cache.baud;

		(void)motor_enable(false);
		(void)motor_clear_faults();
		faults_reported = 0U;
		reload_cache();
		/* Baud Rate went back to the X430 factory value: use this
		 * firmware's factory value instead (bus thread, after the answer).
		 */
		if ((cache.baud != previous_baud) &&
		    (cache.baud != CONFIG_SFS_DXL_FACTORY_BAUD_CODE)) {
			factory_baud_pending = true;
		}
		break;
	}

	case X430_EVENT_CLEAR_MULTI_TURN: {
		struct motor_snapshot snap;

		motor_get_snapshot(&snap);
		const int32_t present = joint_position_to_dxl(&jcfg, &cache.regs,
							      snap.status.position);
		const int32_t wrapped = ((present % JOINT_DXL_PULSES_PER_REV) +
					 JOINT_DXL_PULSES_PER_REV) %
					JOINT_DXL_PULSES_PER_REV;

		return to_status(
			motor_set_position(joint_position_from_dxl(&jcfg, &cache.regs, wrapped)));
	}

	case X430_EVENT_BUS_WATCHDOG:
		(void)motor_stop();
		break;

	case X430_EVENT_BAUD_RATE:
		cache.baud = (uint8_t)reg(X430_ADDR_BAUD_RATE);
		(void)uart_set_baud(cache.baud);
		break;

	case X430_EVENT_TORQUE_SHUTDOWN:
		(void)motor_enable(false);
		break;

	case X430_EVENT_BACKUP_RESTORED:
		reload_cache();
		(void)motor_set_current(
			joint_current_from_dxl((uint32_t)reg(X430_ADDR_CURRENT_LIMIT)),
			CONFIG_SFS_CTRL_I_HOLD_MA);
		break;

	default:
		break;
	}
	return DXL2_ERR_NONE;
}

static int hook_nvm_load(struct x430_device *device, enum x430_nvm_slot slot, uint8_t *data,
			 uint16_t size, void *user_data)
{
	const int ret = nvm_load((uint8_t)slot, data, size);

	ARG_UNUSED(device);
	ARG_UNUSED(user_data);
	if ((ret != 0) && (slot == X430_NVM_EEPROM)) {
		eeprom_missing = true;
	}
	return ret;
}

static int hook_nvm_store(struct x430_device *device, enum x430_nvm_slot slot,
			  const uint8_t *data, uint16_t size, void *user_data)
{
	struct motor_snapshot snap;

	ARG_UNUSED(device);
	ARG_UNUSED(user_data);

	/* A flash erase stalls the CPU (single bank) and with it the current loop */
	motor_get_snapshot(&snap);
	if (snap.status.state != SSTEP_STATE_DISABLED) {
		LOG_WRN("NVM write refused: power stage enabled");
		return -EBUSY;
	}
	return nvm_store((uint8_t)slot, data, size);
}

static const struct x430_hooks hooks = {
	.write = hook_write,
	.read = hook_read,
	.event = hook_event,
	.nvm_load = hook_nvm_load,
	.nvm_store = hook_nvm_store,
};

/* Write this firmware's factory Baud Rate through the normal write path
 * (validated, stored in the EEPROM block, X430_EVENT_BAUD_RATE). Bus lock held.
 */
static void apply_factory_baud(void)
{
	const uint8_t code = CONFIG_SFS_DXL_FACTORY_BAUD_CODE;
	const uint8_t rc = x430_device_write(&joint_dev, X430_ADDR_BAUD_RATE, 1U, &code, 0U);

	if (rc != DXL2_ERR_NONE) {
		LOG_ERR("factory Baud Rate %u: error 0x%02x", code, rc);
	}
	x430_device_flush_events(&joint_dev);
}

/* ------------------------------------------------------------------------ */

static void dxl_thread_fn(void *p1, void *p2, void *p3)
{
	int64_t next_poll = k_uptime_get() + CONFIG_SFS_DXL_POLL_MS;

	ARG_UNUSED(p1);
	ARG_UNUSED(p2);
	ARG_UNUSED(p3);

	for (;;) {
		uint8_t chunk[64];
		uint32_t n;

		(void)k_sem_take(&rx_sem, K_MSEC(CONFIG_SFS_DXL_POLL_MS));

		while ((n = ring_buf_get(&rx_ring, chunk, sizeof(chunk))) > 0U) {
			x430_bus_receive(&bus, chunk, n);
		}

		if (factory_baud_pending) {
			x430_bus_lock(&bus);
			factory_baud_pending = false;
			apply_factory_baud();
			x430_bus_unlock(&bus);
		}

		if (k_uptime_get() >= next_poll) {
			next_poll += CONFIG_SFS_DXL_POLL_MS;
			x430_bus_poll(&bus);
			x430_bus_lock(&bus);
			refresh_live();
			x430_bus_unlock(&bus);

			const atomic_val_t overruns = atomic_set(&rx_overruns, 0);

			if (overruns != 0) {
				LOG_WRN("RX ring buffer overrun (%ld)", (long)overruns);
			}
		}
	}
}

int dxl_bus_init(void)
{
	const struct x430_bus_config bus_cfg = {
		.write = uart_write,
		.write_context = NULL,
		.port = &port,
	};
	const struct x430_device_config dev_cfg = {
		.id = CONFIG_SFS_DXL_ID,
		.hooks = &hooks,
		.user_data = NULL,
	};
	int ret;

	if (!device_is_ready(uart)) {
		LOG_ERR("%s not ready", uart->name);
		return -ENODEV;
	}

	ret = nvm_init();
	if (ret != 0) {
		LOG_WRN("NVM unavailable (%d): EEPROM area not persistent", ret);
	}

	if ((x430_bus_init(&bus, &bus_cfg) != X430_OK) ||
	    (x430_device_init(&joint_dev, &dev_cfg) != X430_OK) ||
	    (x430_bus_attach(&bus, &joint_dev) != X430_OK)) {
		LOG_ERR("X430 initialisation failed");
		return -EINVAL;
	}

	x430_bus_lock(&bus);
	reload_cache();
	if (eeprom_missing && (cache.baud != CONFIG_SFS_DXL_FACTORY_BAUD_CODE)) {
		apply_factory_baud(); /* first start: this firmware's factory baud rate */
	}
	(void)uart_set_baud(cache.baud);
	refresh_live();
	x430_bus_unlock(&bus);

	uart_irq_callback_set(uart, uart_isr);
	uart_irq_rx_enable(uart);

	(void)k_thread_create(&dxl_thread, dxl_stack, K_THREAD_STACK_SIZEOF(dxl_stack),
			      dxl_thread_fn, NULL, NULL, NULL, CONFIG_SFS_DXL_THREAD_PRIORITY, 0,
			      K_NO_WAIT);
	(void)k_thread_name_set(&dxl_thread, "dxl");

	LOG_INF("DYNAMIXEL %s: ID %u, model %u, %s", CONFIG_X430_MODEL_NAME,
		x430_device_id(&joint_dev), (unsigned int)reg(X430_ADDR_MODEL_NUMBER),
		uart->name);
	return 0;
}
```

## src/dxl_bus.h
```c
/*
 * SPDX-License-Identifier: Apache-2.0
 *
 * DYNAMIXEL Protocol 2.0 transport: one emulated XM430-W350 (X430 Control
 * Table emulator) on the UART chosen as "sfs,dxl-uart", mapped onto the
 * Stepper-C motor (motor.h) through the unit conversions of joint.h.
 */

#ifndef SFS_DXL_BUS_H
#define SFS_DXL_BUS_H

#ifdef __cplusplus
extern "C" {
#endif

/** Initialise NVM, the emulated device and the UART, and start the bus thread. */
int dxl_bus_init(void);

#ifdef __cplusplus
}
#endif

#endif /* SFS_DXL_BUS_H */
```

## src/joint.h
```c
/*
 * SPDX-License-Identifier: Apache-2.0
 *
 * Unit conversions between the stepper motor (Stepper-C: microsteps,
 * microsteps/s, microsteps/s^2, mA) and the DYNAMIXEL X430 Control Table
 * (pulse = 360/4096 deg, 0.229 rev/min, 214.577 rev/min^2, 2.69 mA, ms).
 * Pure functions, no state: unit-testable on the host.
 */

#ifndef SFS_JOINT_H
#define SFS_JOINT_H

#include <stdbool.h>
#include <stdint.h>

#ifdef __cplusplus
extern "C" {
#endif

/** X430 position resolution [pulse per joint revolution]. */
#define JOINT_DXL_PULSES_PER_REV 4096

/** Mechanical and register-level parameters of one joint. */
struct joint_cfg {
	uint32_t full_steps_per_rev; /**< Motor full steps per motor revolution. */
	uint32_t microsteps;         /**< Microsteps per full step. */
	uint32_t gear_motor_revs;    /**< Motor revolutions ...          */
	uint32_t gear_joint_revs;    /**< ... per joint revolutions.     */
	int32_t start_position;      /**< Present Position of motor position 0 [pulse]. */
};

/** Register values that change the mapping (cached from the Control Table). */
struct joint_regs {
	uint8_t drive_mode;     /**< Drive Mode (10). */
	int32_t homing_offset;  /**< Homing Offset (20) [pulse]. */
};

/** Motor position [microsteps] to Present Position [pulse]. */
int32_t joint_position_to_dxl(const struct joint_cfg *cfg, const struct joint_regs *regs,
			      int32_t microsteps);

/** Goal Position [pulse] to motor position [microsteps]. */
int32_t joint_position_from_dxl(const struct joint_cfg *cfg, const struct joint_regs *regs,
				int32_t pulses);

/** Motor velocity [microsteps/s] to Present Velocity [0.229 rev/min]. */
int32_t joint_velocity_to_dxl(const struct joint_cfg *cfg, const struct joint_regs *regs,
			      int32_t microsteps_per_s);

/** Goal Velocity [0.229 rev/min] to motor velocity [microsteps/s]. */
int32_t joint_velocity_from_dxl(const struct joint_cfg *cfg, const struct joint_regs *regs,
				int32_t dxl_velocity);

/** Velocity magnitude [0.229 rev/min] (Profile Velocity, Velocity Limit) to [microsteps/s]. */
uint32_t joint_speed_from_dxl(const struct joint_cfg *cfg, uint32_t dxl_velocity);

/** Profile Acceleration [214.577 rev/min^2] to [microsteps/s^2]. */
uint32_t joint_accel_from_dxl(const struct joint_cfg *cfg, uint32_t dxl_accel);

/** Phase current amplitude [mA] to Present Current [2.69 mA]. */
int32_t joint_current_to_dxl(int32_t milliamps);

/** Current Limit [2.69 mA] to [mA]. */
uint32_t joint_current_from_dxl(uint32_t dxl_current);

/** Motion limits of one move. */
struct joint_profile {
	uint32_t v_max; /**< [microsteps/s], >= 1 */
	uint32_t accel; /**< [microsteps/s^2], >= 1 */
};

/**
 * @brief Velocity and acceleration of a position move from the profile
 *        registers, as an X430 interprets them.
 *
 * Velocity-based profile (Drive Mode bit 2 = 0): Profile Velocity in
 * 0.229 rev/min and Profile Acceleration in 214.577 rev/min^2; 0 = no limit.
 * Time-based profile (bit 2 = 1): Profile Velocity is the time of the whole
 * move and Profile Acceleration the acceleration time, both in ms; the
 * acceleration time is limited to half of the move time; 0 = no limit.
 * The result is limited by @p v_cap / @p a_cap and by Velocity Limit (> 0).
 *
 * @param distance        |target - position| [microsteps].
 * @param velocity_limit  Velocity Limit (44) [0.229 rev/min], 0 = none.
 */
struct joint_profile joint_profile(const struct joint_cfg *cfg, const struct joint_regs *regs,
				   uint32_t distance, uint32_t profile_velocity,
				   uint32_t profile_acceleration, uint32_t velocity_limit,
				   uint32_t v_cap, uint32_t a_cap);

#ifdef __cplusplus
}
#endif

#endif /* SFS_JOINT_H */
```
